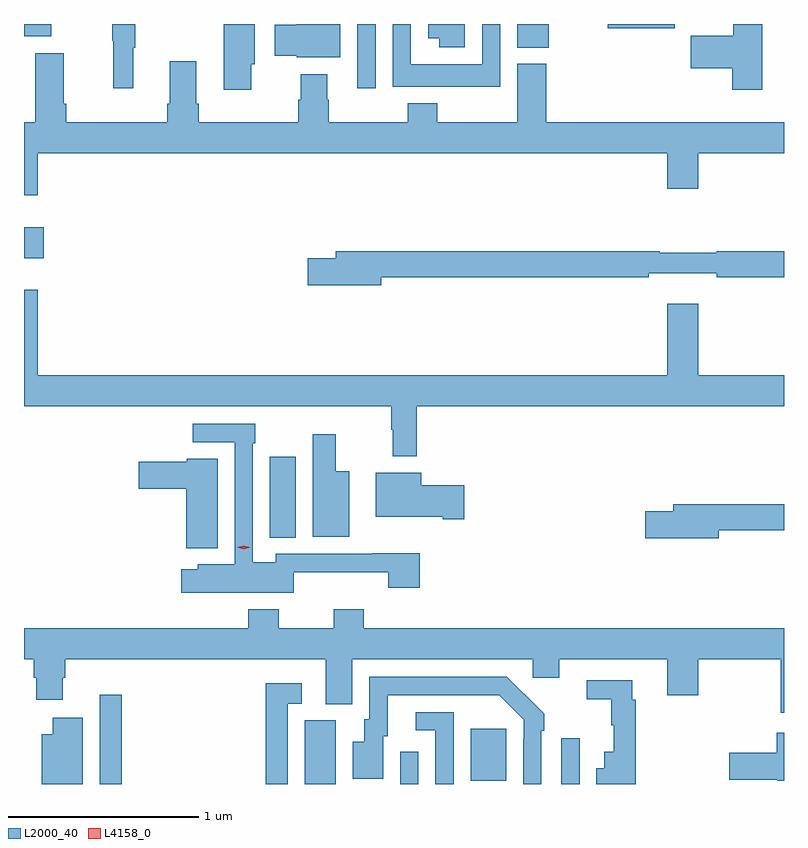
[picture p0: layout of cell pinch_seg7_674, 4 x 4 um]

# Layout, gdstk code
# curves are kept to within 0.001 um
import gdstk
lib = gdstk.Library(unit=1e-6, precision=1e-09)
def R(c, l, rs):  # rectangles x0, y0, x1, y1
    for r in rs: c.add(gdstk.rectangle(r[:2], r[2:], *l))
def P(c, l, *ps):  # polygons
    for p in ps: c.add(gdstk.Polygon(p, *l))
L2000_40 = (2000, 40)
L4158_0 = (4158, 0)

pinch_seg7_674 = lib.new_cell('pinch_seg7_674')
R(pinch_seg7_674, L2000_40, [(257.925,999.96,258.041,1000.429), (259.004,999.96,259.168,1000.296), (259.506,999.96,259.602,1000.129), (260.355,999.96,260.451,1000.201), (259.877,999.977,260.065,1000.252), (258.821,1001.257,258.958,1001.683), (257.527,1002.728,257.632,1002.889), (259.281,1003.623,259.377,1003.96), (260.123,1003.835,260.289,1003.96), (257.527,1003.895,257.671,1003.96), (260.6,1003.937,260.953,1003.96)])
P(pinch_seg7_674, L2000_40, [(258.101,1003.835),(258.112,1003.835),(258.112,1003.96),(257.991,1003.96),(257.991,1003.872),(257.998,1003.872),(257.998,1003.623),(258.101,1003.623)],
  [(260.034,1003.96),(259.938,1003.96),(259.938,1003.747),(259.563,1003.747),(259.563,1003.96),(259.467,1003.96),(259.467,1003.631),(260.034,1003.631)],
  [(259.192,1003.96),(258.959,1003.96),(258.959,1003.957),(258.848,1003.957),(258.848,1003.792),(258.963,1003.792),(258.963,1003.784),(259.192,1003.784)],
  [(258.724,1003.749),(258.742,1003.749),(258.742,1003.96),(258.578,1003.96),(258.578,1003.614),(258.724,1003.614)],
  [(261.412,1003.96),(261.259,1003.96),(261.259,1003.898),(261.036,1003.898),(261.036,1003.727),(261.254,1003.727),(261.254,1003.614),(261.412,1003.614)],
  [(259.846,1003.96),(259.655,1003.96),(259.655,1003.886),(259.712,1003.886),(259.712,1003.838),(259.846,1003.838)],
  [(257.599,1003.28),(260.912,1003.28),(260.912,1003.092),(261.076,1003.092),(261.076,1003.28),(261.527,1003.28),(261.527,1003.444),(260.276,1003.444),(260.276,1003.75),(260.123,1003.75),(260.123,1003.444),(259.701,1003.444),(259.701,1003.543),(259.546,1003.543),(259.546,1003.444),(259.131,1003.444),(259.131,1003.562),(259.123,1003.562),(259.123,1003.696),(258.983,1003.696),(258.983,1003.562),(258.971,1003.562),(258.971,1003.444),(258.446,1003.444),(258.446,1003.54),(258.433,1003.54),(258.433,1003.765),(258.293,1003.765),(258.293,1003.54),(258.281,1003.54),(258.281,1003.444),(257.75,1003.444),(257.75,1003.54),(257.737,1003.54),(257.737,1003.807),(257.585,1003.807),(257.585,1003.444),(257.527,1003.444),(257.527,1003.059),(257.599,1003.059)],
  [(259.408,1002.628),(260.816,1002.628),(260.816,1002.647),(261.172,1002.647),(261.172,1002.628),(261.527,1002.628),(261.527,1002.764),(261.173,1002.764),(261.173,1002.757),(260.873,1002.757),(260.873,1002.764),(259.169,1002.764),(259.169,1002.728),(259.02,1002.728),(259.02,1002.586),(259.408,1002.586)],
  [(259.595,1001.948),(261.527,1001.948),(261.527,1002.112),(261.076,1002.112),(261.076,1002.487),(260.912,1002.487),(260.912,1002.112),(257.599,1002.112),(257.599,1002.562),(257.527,1002.562),(257.527,1001.948),(259.459,1001.948),(259.459,1001.825),(259.467,1001.825),(259.467,1001.685),(259.595,1001.685)],
  [(258.948,1001.075),(259.445,1001.075),(259.445,1000.992),(259.61,1000.992),(259.61,1001.174),(259.361,1001.174),(259.361,1001.172),(258.852,1001.172),(258.852,1001.128),(258.732,1001.128),(258.732,1001.753),(258.745,1001.753),(258.745,1001.856),(258.416,1001.856),(258.416,1001.76),(258.636,1001.76),(258.636,1001.116),(258.441,1001.116),(258.441,1001.089),(258.354,1001.089),(258.354,1000.967),(258.948,1000.967)],
  [(259.24,1001.605),(259.168,1001.605),(259.168,1001.8),(259.046,1001.8),(259.046,1001.261),(259.24,1001.261)],
  [(258.547,1001.671),(258.384,1001.671),(258.384,1001.655),(258.132,1001.655),(258.132,1001.513),(258.38,1001.513),(258.38,1001.201),(258.547,1001.201)],
  [(259.843,1001.532),(259.618,1001.532),(259.618,1001.599),(259.379,1001.599),(259.379,1001.366),(259.73,1001.366),(259.73,1001.354),(259.843,1001.354)],
  [(261.184,1001.296),(261.527,1001.296),(261.527,1001.432),(260.945,1001.432),(260.945,1001.396),(260.796,1001.396),(260.796,1001.254),(261.184,1001.254)],
  [(261.527,1000.78),(259.316,1000.78),(259.316,1000.879),(259.156,1000.879),(259.156,1000.78),(258.867,1000.78),(258.867,1000.879),(258.707,1000.879),(258.707,1000.78),(257.527,1000.78),(257.527,1000.616),(257.579,1000.616),(257.579,1000.518),(257.591,1000.518),(257.591,1000.404),(257.731,1000.404),(257.731,1000.518),(257.744,1000.518),(257.744,1000.616),(259.115,1000.616),(259.115,1000.381),(259.255,1000.381),(259.255,1000.616),(260.205,1000.616),(260.205,1000.518),(260.344,1000.518),(260.344,1000.616),(260.912,1000.616),(260.912,1000.428),(261.076,1000.428),(261.076,1000.616),(261.511,1000.616),(261.511,1000.335),(261.527,1000.335)],
  [(260.25,1000.241),(260.265,1000.241),(260.265,1000.329),(260.068,1000.524),(259.344,1000.524),(259.344,1000.302),(259.319,1000.302),(259.319,1000.183),(259.256,1000.183),(259.256,999.987),(259.417,999.987),(259.417,1000.212),(259.441,1000.212),(259.441,1000.428),(260.029,1000.428),(260.157,1000.299),(260.157,1000.199),(260.154,1000.199),(260.154,999.96),(260.25,999.96)],
  [(260.748,1000.125),(260.747,1000.125),(260.747,1000.403),(260.729,1000.403),(260.729,1000.506),(260.49,1000.506),(260.49,1000.405),(260.619,1000.405),(260.619,1000.269),(260.63,1000.269),(260.63,1000.129),(260.582,1000.129),(260.582,1000.042),(260.54,1000.042),(260.54,999.96),(260.748,999.96)],
  [(258.915,1000.383),(258.988,1000.383),(258.988,1000.489),(258.799,1000.489),(258.799,999.96),(258.915,999.96)],
  [(259.788,1000.338),(259.59,1000.338),(259.59,1000.242),(259.692,1000.242),(259.692,999.96),(259.788,999.96)],
  [(257.836,1000.309),(257.678,1000.309),(257.678,1000.222),(257.621,1000.222),(257.621,999.96),(257.836,999.96)],
  [(261.527,1000.231),(261.488,1000.231),(261.488,1000.125),(261.24,1000.125),(261.24,999.983),(261.492,999.983),(261.492,999.977),(261.527,999.977)])
P(pinch_seg7_674, L4158_0, [(258.684,1001.195),(258.65,1001.205),(258.649,1001.205),(258.65,1001.205),(258.684,1001.215),(258.719,1001.205),(258.719,1001.205),(258.719,1001.205)])

lib.write_gds('pinch_seg7_674.gds')
